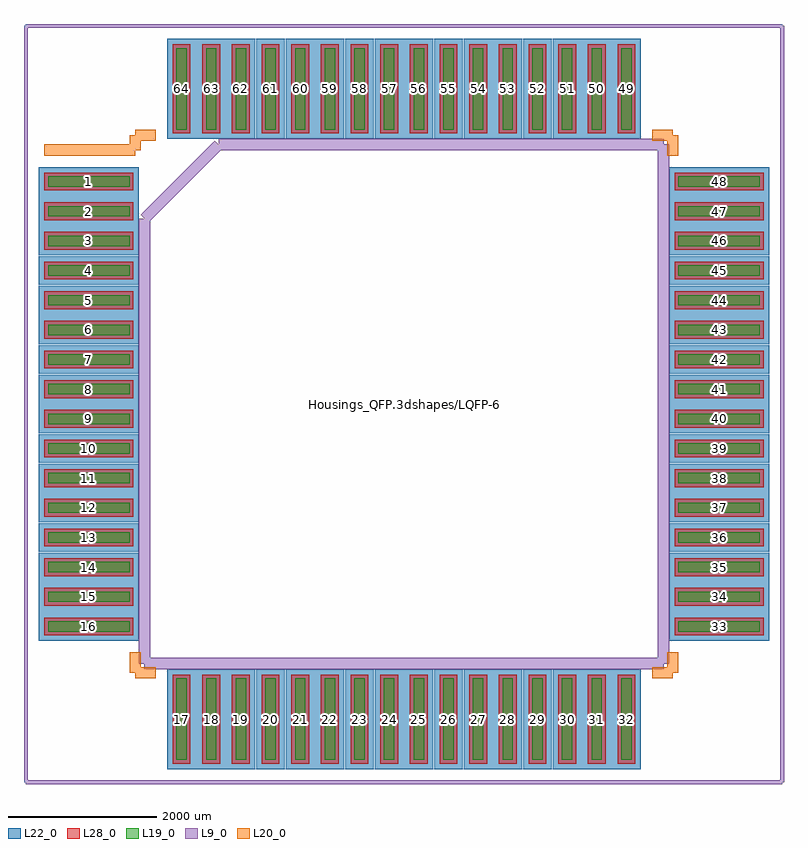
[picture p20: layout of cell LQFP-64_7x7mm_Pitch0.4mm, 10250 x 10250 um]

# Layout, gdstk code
import gdstk
lib = gdstk.Library(unit=1e-6, precision=1e-09)
def R(c, l, rs):  # rectangles x0, y0, x1, y1
    for r in rs: c.add(gdstk.rectangle(r[:2], r[2:], *l))
def A(c, l, x, y, w, h, nx, ny, dx, dy):  # array of equal rectangles
    R(c, l, [(x+i*dx, y+j*dy, x+i*dx+w, y+j*dy+h) for i in range(nx) for j in range(ny)])
L9_0 = (9, 0)
L19_0 = (19, 0)
L20_0 = (20, 0)
L22_0 = (22, 0)
L28_0 = (28, 0)

lqfp_64_7x7mm_pitch0_4mm = lib.new_cell('LQFP-64_7x7mm_Pitch0.4mm')
A(lqfp_64_7x7mm_pitch0_4mm, L19_0, -3070, -4800, 140, 1100, 16, 2, 400, 8500)
A(lqfp_64_7x7mm_pitch0_4mm, L19_0, -4800, -3070, 1100, 140, 1, 16, 0, 400)
A(lqfp_64_7x7mm_pitch0_4mm, L19_0, 3700, -3070, 1100, 140, 1, 16, 0, 400)
A(lqfp_64_7x7mm_pitch0_4mm, L22_0, -3195, -4925, 390, 1350, 16, 2, 400, 8500)
A(lqfp_64_7x7mm_pitch0_4mm, L22_0, -4925, -3195, 1350, 390, 1, 16, 0, 400)
A(lqfp_64_7x7mm_pitch0_4mm, L22_0, 3575, -3195, 1350, 390, 1, 16, 0, 400)
A(lqfp_64_7x7mm_pitch0_4mm, L28_0, -3120, -4850, 240, 1200, 16, 2, 400, 8500)
A(lqfp_64_7x7mm_pitch0_4mm, L28_0, -4850, -3120, 1200, 240, 1, 16, 0, 400)
A(lqfp_64_7x7mm_pitch0_4mm, L28_0, 3650, -3120, 1200, 240, 1, 16, 0, 400)
lqfp_64_7x7mm_pitch0_4mm.add(gdstk.FlexPath([(-3625,3425),(-4850,3425)], 149.998, ends="flush", simple_path=True, layer=20, datatype=0))  # L20_0
lqfp_64_7x7mm_pitch0_4mm.add(gdstk.FlexPath([(3625,3625),(3345,3625)], 149.998, ends="flush", simple_path=True, layer=20, datatype=0))  # L20_0
lqfp_64_7x7mm_pitch0_4mm.add(gdstk.FlexPath([(3625,-3625),(3345,-3625)], 149.998, ends="flush", simple_path=True, layer=20, datatype=0))  # L20_0
lqfp_64_7x7mm_pitch0_4mm.add(gdstk.FlexPath([(-3625,-3625),(-3345,-3625)], 149.998, ends="flush", simple_path=True, layer=20, datatype=0))  # L20_0
lqfp_64_7x7mm_pitch0_4mm.add(gdstk.FlexPath([(-3625,3625),(-3345,3625)], 149.998, ends="flush", simple_path=True, layer=20, datatype=0))  # L20_0
lqfp_64_7x7mm_pitch0_4mm.add(gdstk.FlexPath([(-3625,-3625),(-3625,-3345)], 149.998, ends="flush", simple_path=True, layer=20, datatype=0))  # L20_0
lqfp_64_7x7mm_pitch0_4mm.add(gdstk.FlexPath([(3625,-3625),(3625,-3345)], 149.998, ends="flush", simple_path=True, layer=20, datatype=0))  # L20_0
lqfp_64_7x7mm_pitch0_4mm.add(gdstk.FlexPath([(3625,3625),(3625,3345)], 149.998, ends="flush", simple_path=True, layer=20, datatype=0))  # L20_0
lqfp_64_7x7mm_pitch0_4mm.add(gdstk.FlexPath([(-3625,3625),(-3625,3425)], 149.998, ends="flush", simple_path=True, layer=20, datatype=0))  # L20_0
lqfp_64_7x7mm_pitch0_4mm.add(gdstk.FlexPath([(-5100,-5100),(5100,-5100)], 50, ends="flush", simple_path=True, layer=9, datatype=0))  # L9_0
lqfp_64_7x7mm_pitch0_4mm.add(gdstk.FlexPath([(-5100,5100),(5100,5100)], 50, ends="flush", simple_path=True, layer=9, datatype=0))  # L9_0
lqfp_64_7x7mm_pitch0_4mm.add(gdstk.FlexPath([(5100,5100),(5100,-5100)], 50, ends="flush", simple_path=True, layer=9, datatype=0))  # L9_0
lqfp_64_7x7mm_pitch0_4mm.add(gdstk.FlexPath([(-5100,5100),(-5100,-5100)], 50, ends="flush", simple_path=True, layer=9, datatype=0))  # L9_0
lqfp_64_7x7mm_pitch0_4mm.add(gdstk.FlexPath([(-3500,2500),(-2500,3500)], 149.998, ends="flush", simple_path=True, layer=9, datatype=0))  # L9_0
lqfp_64_7x7mm_pitch0_4mm.add(gdstk.FlexPath([(-3500,-3500),(-3500,2500)], 149.998, ends="flush", simple_path=True, layer=9, datatype=0))  # L9_0
lqfp_64_7x7mm_pitch0_4mm.add(gdstk.FlexPath([(3500,-3500),(-3500,-3500)], 149.998, ends="flush", simple_path=True, layer=9, datatype=0))  # L9_0
lqfp_64_7x7mm_pitch0_4mm.add(gdstk.FlexPath([(3500,3500),(3500,-3500)], 149.998, ends="flush", simple_path=True, layer=9, datatype=0))  # L9_0
lqfp_64_7x7mm_pitch0_4mm.add(gdstk.FlexPath([(-2500,3500),(3500,3500)], 149.998, ends="flush", simple_path=True, layer=9, datatype=0))  # L9_0
lqfp_64_7x7mm_pitch0_4mm.add(gdstk.Label('Housings_QFP.3dshapes/LQFP-64_7x7mm_Pitch0.4mm.wrl', (0,0), layer=12, texttype=0))
lqfp_64_7x7mm_pitch0_4mm.add(gdstk.Label('64', (-3000,4250), layer=28, texttype=0))
lqfp_64_7x7mm_pitch0_4mm.add(gdstk.Label('63', (-2600,4250), layer=28, texttype=0))
lqfp_64_7x7mm_pitch0_4mm.add(gdstk.Label('62', (-2200,4250), layer=28, texttype=0))
lqfp_64_7x7mm_pitch0_4mm.add(gdstk.Label('61', (-1800,4250), layer=28, texttype=0))
lqfp_64_7x7mm_pitch0_4mm.add(gdstk.Label('60', (-1400,4250), layer=28, texttype=0))
lqfp_64_7x7mm_pitch0_4mm.add(gdstk.Label('59', (-1000,4250), layer=28, texttype=0))
lqfp_64_7x7mm_pitch0_4mm.add(gdstk.Label('58', (-600,4250), layer=28, texttype=0))
lqfp_64_7x7mm_pitch0_4mm.add(gdstk.Label('57', (-200,4250), layer=28, texttype=0))
lqfp_64_7x7mm_pitch0_4mm.add(gdstk.Label('56', (200,4250), layer=28, texttype=0))
lqfp_64_7x7mm_pitch0_4mm.add(gdstk.Label('55', (600,4250), layer=28, texttype=0))
lqfp_64_7x7mm_pitch0_4mm.add(gdstk.Label('54', (1000,4250), layer=28, texttype=0))
lqfp_64_7x7mm_pitch0_4mm.add(gdstk.Label('53', (1400,4250), layer=28, texttype=0))
lqfp_64_7x7mm_pitch0_4mm.add(gdstk.Label('52', (1800,4250), layer=28, texttype=0))
lqfp_64_7x7mm_pitch0_4mm.add(gdstk.Label('51', (2200,4250), layer=28, texttype=0))
lqfp_64_7x7mm_pitch0_4mm.add(gdstk.Label('50', (2600,4250), layer=28, texttype=0))
lqfp_64_7x7mm_pitch0_4mm.add(gdstk.Label('49', (3000,4250), layer=28, texttype=0))
lqfp_64_7x7mm_pitch0_4mm.add(gdstk.Label('48', (4250,3000), layer=28, texttype=0))
lqfp_64_7x7mm_pitch0_4mm.add(gdstk.Label('47', (4250,2600), layer=28, texttype=0))
lqfp_64_7x7mm_pitch0_4mm.add(gdstk.Label('46', (4250,2200), layer=28, texttype=0))
lqfp_64_7x7mm_pitch0_4mm.add(gdstk.Label('45', (4250,1800), layer=28, texttype=0))
lqfp_64_7x7mm_pitch0_4mm.add(gdstk.Label('44', (4250,1400), layer=28, texttype=0))
lqfp_64_7x7mm_pitch0_4mm.add(gdstk.Label('43', (4250,1000), layer=28, texttype=0))
lqfp_64_7x7mm_pitch0_4mm.add(gdstk.Label('42', (4250,600), layer=28, texttype=0))
lqfp_64_7x7mm_pitch0_4mm.add(gdstk.Label('41', (4250,200), layer=28, texttype=0))
lqfp_64_7x7mm_pitch0_4mm.add(gdstk.Label('40', (4250,-200), layer=28, texttype=0))
lqfp_64_7x7mm_pitch0_4mm.add(gdstk.Label('39', (4250,-600), layer=28, texttype=0))
lqfp_64_7x7mm_pitch0_4mm.add(gdstk.Label('38', (4250,-1000), layer=28, texttype=0))
lqfp_64_7x7mm_pitch0_4mm.add(gdstk.Label('37', (4250,-1400), layer=28, texttype=0))
lqfp_64_7x7mm_pitch0_4mm.add(gdstk.Label('36', (4250,-1800), layer=28, texttype=0))
lqfp_64_7x7mm_pitch0_4mm.add(gdstk.Label('35', (4250,-2200), layer=28, texttype=0))
lqfp_64_7x7mm_pitch0_4mm.add(gdstk.Label('34', (4250,-2600), layer=28, texttype=0))
lqfp_64_7x7mm_pitch0_4mm.add(gdstk.Label('33', (4250,-3000), layer=28, texttype=0))
lqfp_64_7x7mm_pitch0_4mm.add(gdstk.Label('32', (3000,-4250), layer=28, texttype=0))
lqfp_64_7x7mm_pitch0_4mm.add(gdstk.Label('31', (2600,-4250), layer=28, texttype=0))
lqfp_64_7x7mm_pitch0_4mm.add(gdstk.Label('30', (2200,-4250), layer=28, texttype=0))
lqfp_64_7x7mm_pitch0_4mm.add(gdstk.Label('29', (1800,-4250), layer=28, texttype=0))
lqfp_64_7x7mm_pitch0_4mm.add(gdstk.Label('28', (1400,-4250), layer=28, texttype=0))
lqfp_64_7x7mm_pitch0_4mm.add(gdstk.Label('27', (1000,-4250), layer=28, texttype=0))
lqfp_64_7x7mm_pitch0_4mm.add(gdstk.Label('26', (600,-4250), layer=28, texttype=0))
lqfp_64_7x7mm_pitch0_4mm.add(gdstk.Label('25', (200,-4250), layer=28, texttype=0))
lqfp_64_7x7mm_pitch0_4mm.add(gdstk.Label('24', (-200,-4250), layer=28, texttype=0))
lqfp_64_7x7mm_pitch0_4mm.add(gdstk.Label('23', (-600,-4250), layer=28, texttype=0))
lqfp_64_7x7mm_pitch0_4mm.add(gdstk.Label('22', (-1000,-4250), layer=28, texttype=0))
lqfp_64_7x7mm_pitch0_4mm.add(gdstk.Label('21', (-1400,-4250), layer=28, texttype=0))
lqfp_64_7x7mm_pitch0_4mm.add(gdstk.Label('20', (-1800,-4250), layer=28, texttype=0))
lqfp_64_7x7mm_pitch0_4mm.add(gdstk.Label('19', (-2200,-4250), layer=28, texttype=0))
lqfp_64_7x7mm_pitch0_4mm.add(gdstk.Label('18', (-2600,-4250), layer=28, texttype=0))
lqfp_64_7x7mm_pitch0_4mm.add(gdstk.Label('17', (-3000,-4250), layer=28, texttype=0))
lqfp_64_7x7mm_pitch0_4mm.add(gdstk.Label('16', (-4250,-3000), layer=28, texttype=0))
lqfp_64_7x7mm_pitch0_4mm.add(gdstk.Label('15', (-4250,-2600), layer=28, texttype=0))
lqfp_64_7x7mm_pitch0_4mm.add(gdstk.Label('14', (-4250,-2200), layer=28, texttype=0))
lqfp_64_7x7mm_pitch0_4mm.add(gdstk.Label('13', (-4250,-1800), layer=28, texttype=0))
lqfp_64_7x7mm_pitch0_4mm.add(gdstk.Label('12', (-4250,-1400), layer=28, texttype=0))
lqfp_64_7x7mm_pitch0_4mm.add(gdstk.Label('11', (-4250,-1000), layer=28, texttype=0))
lqfp_64_7x7mm_pitch0_4mm.add(gdstk.Label('10', (-4250,-600), layer=28, texttype=0))
lqfp_64_7x7mm_pitch0_4mm.add(gdstk.Label('9', (-4250,-200), layer=28, texttype=0))
lqfp_64_7x7mm_pitch0_4mm.add(gdstk.Label('8', (-4250,200), layer=28, texttype=0))
lqfp_64_7x7mm_pitch0_4mm.add(gdstk.Label('7', (-4250,600), layer=28, texttype=0))
lqfp_64_7x7mm_pitch0_4mm.add(gdstk.Label('6', (-4250,1000), layer=28, texttype=0))
lqfp_64_7x7mm_pitch0_4mm.add(gdstk.Label('5', (-4250,1400), layer=28, texttype=0))
lqfp_64_7x7mm_pitch0_4mm.add(gdstk.Label('4', (-4250,1800), layer=28, texttype=0))
lqfp_64_7x7mm_pitch0_4mm.add(gdstk.Label('3', (-4250,2200), layer=28, texttype=0))
lqfp_64_7x7mm_pitch0_4mm.add(gdstk.Label('2', (-4250,2600), layer=28, texttype=0))
lqfp_64_7x7mm_pitch0_4mm.add(gdstk.Label('1', (-4250,3000), layer=28, texttype=0))
lqfp_64_7x7mm_pitch0_4mm.add(gdstk.Label('%R', (0,0), layer=9, texttype=0))
lqfp_64_7x7mm_pitch0_4mm.add(gdstk.Label('type', (0,-5850), layer=9, texttype=0))
lqfp_64_7x7mm_pitch0_4mm.add(gdstk.Label('devicename', (0,5850), layer=9, texttype=0))

lib.write_gds('LQFP-64_7x7mm_Pitch0.4mm.gds')
